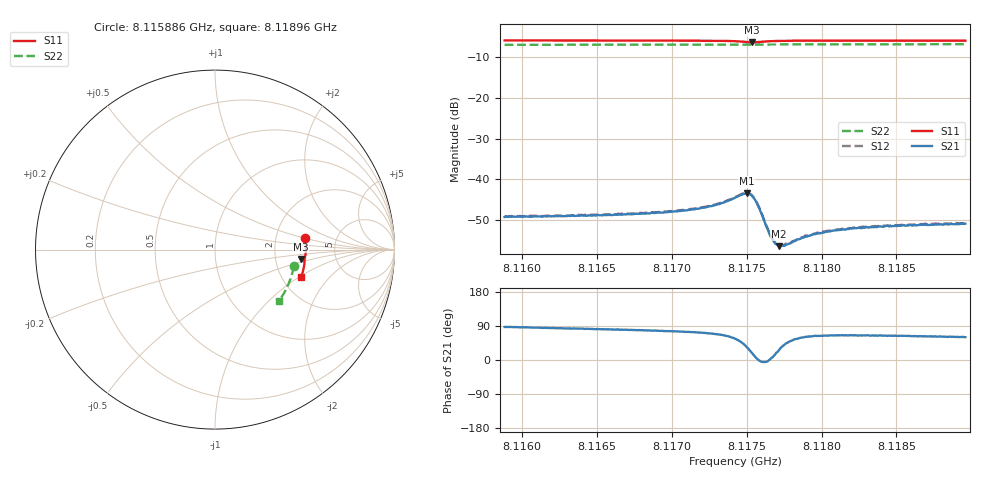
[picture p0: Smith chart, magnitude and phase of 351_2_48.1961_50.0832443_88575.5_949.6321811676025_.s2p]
#  HZ  S  RI  R  50.00
! Rohde & Schwarz Vector Network Analyzer
! Rohde-Schwarz,ZNB20-2Port,1311601062101988,3.16
! Created: UTC 3/20/2024, 11:51:48 AM
! freq[Hz]  re:S11  im:S11  re:S21  im:S21  re:S12  im:S12  re:S22  im:S22
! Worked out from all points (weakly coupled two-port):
!   401 points, 8.115886 GHz to 8.11896 GHz, reference 50 ohm
!   highest |S21| = -43.44 dB at 8.1175 GHz (marker M1); lowest = -56.4 dB at 8.117715 GHz (marker M2)
!   lowest |S11| = -6.3 dB at 8.117538 GHz (marker M3), VSWR 2.86, Z = 140 - j18.8 ohm
!   |S11| at or under -10 dB: nowhere
!   |S22| runs from -7.0 to -6.8 dB; largest |S21 - S12| = 0.00018
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8.115886e9  0.5031 0.0666  0.000175 0.00346  0.000216 0.00354  0.4384 -0.0934
8.1164009e9  0.506 0.0281  0.000484 0.0036  0.000536 0.00364  0.4308 -0.1283
8.1169157e9  0.5056 -0.0113  0.000897 0.00383  0.000929 0.00387  0.4207 -0.1626
8.1170848e9  0.5046 -0.0248  0.00113 0.004  0.00117 0.00406  0.4167 -0.1739
8.1172231e9  0.5028 -0.0367  0.00144 0.0043  0.00153 0.00437  0.4132 -0.1827
8.1173307e9  0.5 -0.0468  0.00203 0.00469  0.00212 0.00474  0.4103 -0.1898
8.1174229e9  0.4941 -0.0558  0.00331 0.00497  0.00342 0.00504  0.4075 -0.1959
8.1174998e9  0.4828 -0.0578  0.00554 0.00382  0.00565 0.00387  0.405 -0.2005
8.1175382e9  0.4788 -0.0517  0.00595 0.00186  0.00609 0.00178  0.4039 -0.2023
8.1175536e9  0.4798 -0.0489  0.00566 0.000979  0.00574 0.000915  0.4034 -0.2032
8.1175766e9  0.4829 -0.0458  0.00474 7.25e-05  0.00488 4.46e-05  0.403 -0.2046
8.1176458e9  0.4935 -0.0483  0.00232 -7.33e-05  0.00238 -9.45e-05  0.4014 -0.2089
8.1176688e9  0.4956 -0.051  0.00189 0.000217  0.00193 0.000179  0.4008 -0.2104
8.1176919e9  0.4969 -0.0536  0.00157 0.000429  0.00163 0.000455  0.4001 -0.212
8.1177149e9  0.4977 -0.0562  0.00137 0.000655  0.00141 0.000678  0.3995 -0.2135
8.117738e9  0.4983 -0.0587  0.00125 0.000895  0.00131 0.000891  0.3988 -0.2152
8.1177687e9  0.4987 -0.062  0.00113 0.00112  0.00115 0.00114  0.3979 -0.2169
8.1178533e9  0.499 -0.0701  0.000983 0.00158  0.00106 0.00162  0.3953 -0.2223
8.1179378e9  0.4984 -0.0777  0.000969 0.00185  0.000989 0.00185  0.3926 -0.2277
8.1181453e9  0.4959 -0.0943  0.00103 0.00221  0.00106 0.00224  0.3856 -0.2405
8.1184527e9  0.4908 -0.1176  0.00114 0.00239  0.0012 0.00243  0.3745 -0.259
8.1189599e9  0.4802 -0.1543  0.00142 0.00249  0.00145 0.0025  0.3543 -0.2884
